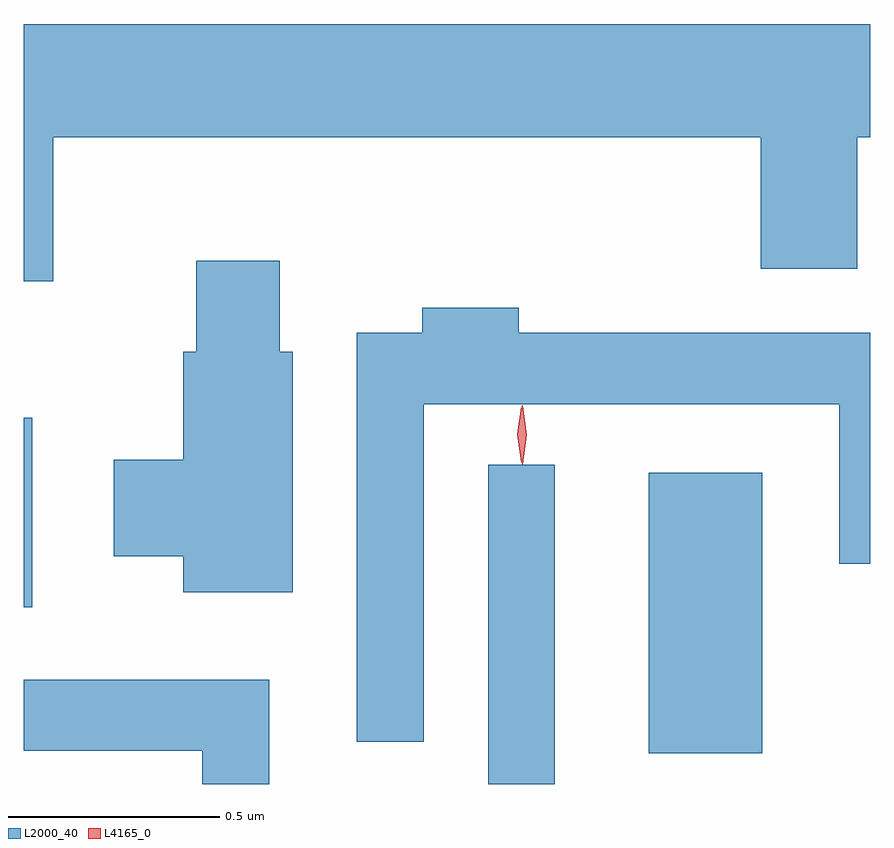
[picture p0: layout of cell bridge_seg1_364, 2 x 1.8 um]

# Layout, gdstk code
import gdstk
lib = gdstk.Library(unit=1e-6, precision=1e-09)
def R(c, l, rs):  # rectangles x0, y0, x1, y1
    for r in rs: c.add(gdstk.rectangle(r[:2], r[2:], *l))
def P(c, l, *ps):  # polygons
    for p in ps: c.add(gdstk.Polygon(p, *l))
L2000_40 = (2000, 40)
L4165_0 = (4165, 0)

bridge_seg1_364 = lib.new_cell('bridge_seg1_364')
R(bridge_seg1_364, L2000_40, [(942.666,875.848,942.824,876.603), (943.046,875.921,943.314,876.584), (941.569,876.266,941.589,876.714)])
P(bridge_seg1_364, L2000_40, [(941.639,877.376),(943.311,877.376),(943.311,877.066),(943.539,877.066),(943.539,877.376),(943.569,877.376),(943.569,877.644),(941.569,877.644),(941.569,877.036),(941.639,877.036)],
  [(942.204,876.869),(942.174,876.869),(942.174,877.084),(941.976,877.084),(941.976,876.869),(941.946,876.869),(941.946,876.614),(941.781,876.614),(941.781,876.386),(941.946,876.386),(941.946,876.301),(942.204,876.301)],
  [(942.514,876.746),(943.496,876.746),(943.496,876.368),(943.569,876.368),(943.569,876.914),(942.739,876.914),(942.739,876.974),(942.511,876.974),(942.511,876.914),(942.356,876.914),(942.356,875.948),(942.514,875.948)],
  [(942.149,876.094),(941.569,876.094),(941.569,875.926),(941.991,875.926),(941.991,875.848),(942.149,875.848)])
P(bridge_seg1_364, L4165_0, [(942.747,876.604),(942.738,876.673),(942.747,876.742),(942.748,876.743),(942.748,876.742),(942.758,876.673),(942.748,876.604),(942.748,876.604)],
  [(942.745,876.607),(942.744,876.608),(942.735,876.674),(942.744,876.74),(942.745,876.741),(942.745,876.74),(942.755,876.674),(942.745,876.608)])

lib.write_gds('bridge_seg1_364.gds')
